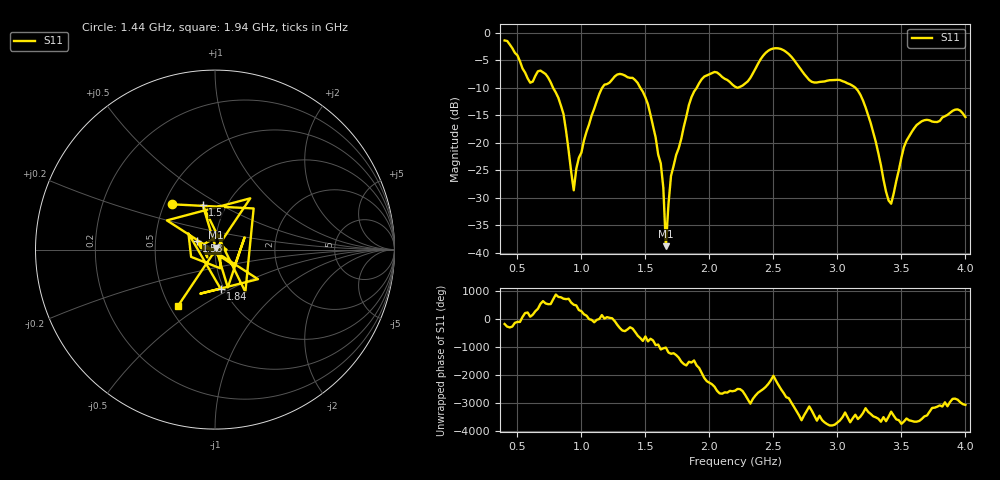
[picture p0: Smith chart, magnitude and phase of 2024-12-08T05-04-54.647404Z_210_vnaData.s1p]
!Created with skrf (http://scikit-rf.org).
# Hz S RI R 50.0
!freq ReS11 ImS11
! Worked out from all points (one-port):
!   181 points, 400 MHz to 4 GHz, reference 50 ohm
!   lowest |S11| = -38.8 dB at 1.66 GHz (marker M1), VSWR 1.02, Z = 50.5 + j1.05 ohm
!   |S11| at or under -10 dB: 778.1 MHz to 1.164 GHz (385.5 MHz wide, 39.7 % of centre); 1.459 GHz to 1.902 GHz (442.7 MHz wide, 26.3 % of centre); 3.14 GHz to end of sweep (the widest 3 of 4)
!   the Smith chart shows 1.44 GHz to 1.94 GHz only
!   S11 on the Smith chart (normalised r, x): 1.44 GHz: 0.55, +0.32; 1.5 GHz: 0.78, +0.41; 1.58 GHz: 0.81, +0.08; 1.84 GHz: 0.96, -0.44; 1.94 GHz: 0.55, -0.40
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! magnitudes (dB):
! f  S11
! 400 MHz  -1.4
! 600 MHz  -9.1
! 720 MHz  -7.5
! 860 MHz  -14.8
! 940 MHz  -28.7
! 980 MHz  -22.8
! 1.14 GHz  -11.2
! 1.3 GHz  -7.5
! 1.44 GHz  -9.2
! 1.5 GHz  -11.8
! 1.58 GHz  -19.1
! 1.64 GHz  -28.2
! 1.66 GHz  -38.8
! 1.7 GHz  -26.1
! 1.76 GHz  -21.0
! 1.84 GHz  -13.2
! 1.94 GHz  -8.5
! 2.06 GHz  -7.3
! 2.2 GHz  -9.8
! 2.48 GHz  -3.0
! 2.66 GHz  -5.0
! 2.8 GHz  -9.0
! 3.1 GHz  -9.4
! 3.22 GHz  -13.6
! 3.42 GHz  -31.1
! 3.56 GHz  -18.9
! 3.92 GHz  -14.0
! 4 GHz  -15.4
